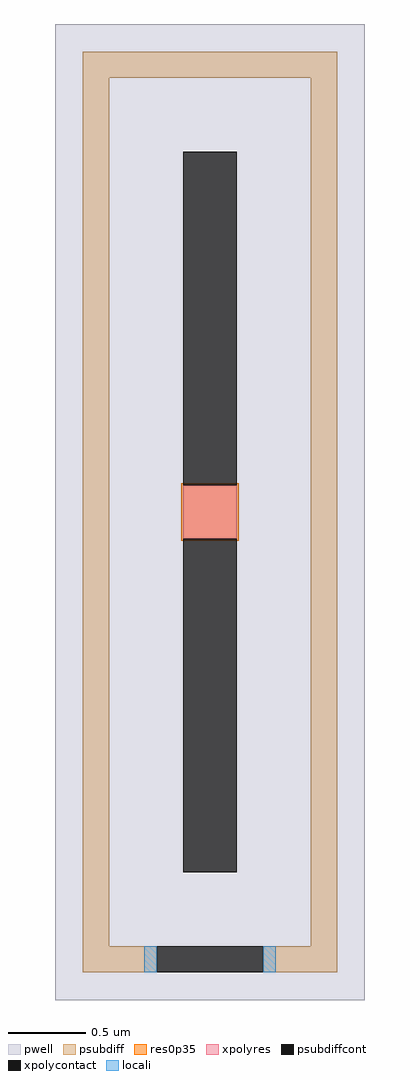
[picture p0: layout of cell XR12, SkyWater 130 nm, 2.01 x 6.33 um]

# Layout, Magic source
magic
tech sky130A
magscale 1 2
<< pwell >>
rect -201 -633 201 633
<< psubdiff >>
rect -165 563 165 597
rect -165 -563 -131 563
rect 131 -563 165 563
rect -165 -597 -69 -563
rect 69 -597 165 -563
<< psubdiffcont >>
rect -69 -597 69 -563
<< xpolycontact >>
rect -35 35 35 467
rect -35 -467 35 -35
<< xpolyres >>
rect -35 -35 35 35
<< locali >>
rect -85 -597 -69 -563
rect 69 -597 85 -563
<< res0p35 >>
rect -37 -37 37 37
<< properties >>
string FIXED_BBOX -148 -580 148 580
<< end >>
